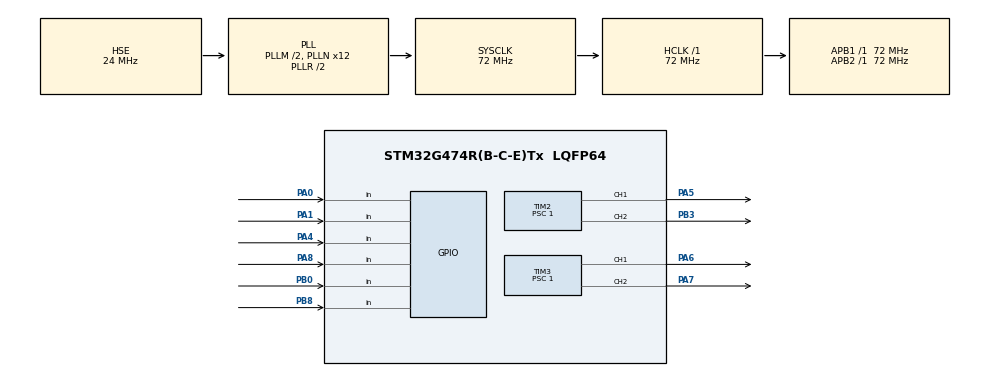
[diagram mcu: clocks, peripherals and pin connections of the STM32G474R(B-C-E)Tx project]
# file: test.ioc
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Mcu.Family=STM32G4
Mcu.Name=STM32G474R(B-C-E)Tx
Mcu.Package=LQFP64
NVIC.PriorityGroup=NVIC_PRIORITYGROUP_4
PA0.Signal=GPIO_Input
PA1.Signal=GPIO_Input
PA4.Signal=GPIO_Input
PA5.Signal=S_TIM2_CH1
PA6.Signal=S_TIM3_CH1
PA7.Signal=S_TIM3_CH2
PA8.Signal=GPIO_Input
PB0.Signal=GPIO_Input
PB3.Signal=S_TIM2_CH2
PB8-BOOT0.Signal=GPIO_Input
PF0-OSC_IN.Mode=HSE-External-Oscillator
PF0-OSC_IN.Signal=RCC_OSC_IN
PF1-OSC_OUT.Mode=HSE-External-Oscillator
PF1-OSC_OUT.Signal=RCC_OSC_OUT
ProjectManager.HeapSize=0x200
ProjectManager.StackSize=0x400
ProjectManager.TargetToolchain=STM32CubeIDE
RCC.ADC12Freq_Value=72000000
RCC.ADC345Freq_Value=72000000
RCC.AHBFreq_Value=72000000
RCC.APB1Freq_Value=72000000
RCC.APB1TimFreq_Value=72000000
RCC.APB2Freq_Value=72000000
RCC.APB2TimFreq_Value=72000000
RCC.CortexFreq_Value=72000000
RCC.EXTERNAL_CLOCK_VALUE=12288000
RCC.HCLKFreq_Value=72000000
RCC.HSE_VALUE=24000000
RCC.HSI48_VALUE=48000000
RCC.HSI_VALUE=16000000
RCC.PLLM=RCC_PLLM_DIV2
RCC.PLLN=12
RCC.PLLSourceVirtual=RCC_PLLSOURCE_HSE
RCC.RTCClockSelection=RCC_RTCCLKSOURCE_LSE
RCC.SYSCLKFreq_VALUE=72000000
RCC.SYSCLKSource=RCC_SYSCLKSOURCE_PLLCLK
RCC.USBFreq_Value=72000000
RCC.VCOOutputFreq_Value=144000000
SH.S_TIM2_CH1.0=TIM2_CH1,PWM Generation1 CH1
SH.S_TIM2_CH2.0=TIM2_CH2,PWM Generation2 CH2
SH.S_TIM3_CH1.0=TIM3_CH1,PWM Generation1 CH1
SH.S_TIM3_CH2.0=TIM3_CH2,PWM Generation2 CH2
TIM2.Channel-PWM\ Generation1\ CH1=TIM_CHANNEL_1
TIM2.Channel-PWM\ Generation2\ CH2=TIM_CHANNEL_2
TIM2.PeriodNoDither=3999
TIM2.Prescaler=1
TIM3.Channel-PWM\ Generation1\ CH1=TIM_CHANNEL_1
TIM3.Channel-PWM\ Generation2\ CH2=TIM_CHANNEL_2
TIM3.PeriodNoDither=3999
TIM3.Prescaler=1
VP_TIM2_VS_ClockSourceINT.Mode=Internal
VP_TIM3_VS_ClockSourceINT.Mode=Internal
board=NUCLEO-G474RE

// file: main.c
/* USER CODE BEGIN Header */
/**
  ******************************************************************************
  * @file           : main.c
  * @brief          : Main program body
  ******************************************************************************
  * @attention
  *
  * Copyright (c) 2024 STMicroelectronics.
  * All rights reserved.
  *
  * This software is licensed under terms that can be found in the LICENSE file
  * in the root directory of this software component.
  * If no LICENSE file comes with this software, it is provided AS-IS.
  *
  ******************************************************************************
  */
/* USER CODE END Header */
#include "main.h"

TIM_HandleTypeDef htim2;
TIM_HandleTypeDef htim3;

void SystemClock_Config(void);
static void MX_GPIO_Init(void);
static void MX_TIM2_Init(void);
static void MX_TIM3_Init(void);

/* USER CODE BEGIN 0 */
void stop(int v)
{
	TIM2->CCR1=0;
	TIM2->CCR2=0;
	TIM3->CCR1=0;
	TIM3->CCR2=0;
}
void avant(int v)
{
	TIM2->CCR1=v;
	TIM2->CCR2=0;
	TIM3->CCR1=v;
	TIM3->CCR2=0;
}
void arr(int v)
{
	TIM2->CCR1=0;
	TIM2->CCR2=v;
	TIM3->CCR1=0;
	TIM3->CCR2=v;
}
void gauche(int v)
{

	TIM2->CCR1=v;
	TIM2->CCR2=0;
	TIM3->CCR1=0;
	TIM3->CCR2=0;
}
void gauche_s(int v)
{

	TIM2->CCR1=v;
	TIM2->CCR2=0;
	TIM3->CCR1=0;
	TIM3->CCR2=v;
}
void droite(int v)
{

	TIM2->CCR1=0;
	TIM2->CCR2=0;
	TIM3->CCR1=v;
	TIM3->CCR2=0;
}
void droite_s(int v)
{

	TIM2->CCR1=0;
	TIM2->CCR2=v;
	TIM3->CCR1=v;
	TIM3->CCR2=0;
}
int cap2=0;
int cap3=0;
int cap4=0;
int cap1=0;
int cap5=0;
int cap6=0;
int i=0;
/* USER CODE END 0 */

int main(void)
{

  /* MCU Configuration--------------------------------------------------------*/

  /* Reset of all peripherals, Initializes the Flash interface and the Systick. */
  HAL_Init();

  /* Configure the system clock */
  SystemClock_Config();

  /* Initialize all configured peripherals */
  MX_GPIO_Init();
  MX_TIM2_Init();
  MX_TIM3_Init();
  /* USER CODE BEGIN 2 */
  HAL_TIM_PWM_Start(&htim2,TIM_CHANNEL_1);
  HAL_TIM_PWM_Start(&htim2,TIM_CHANNEL_2);
  HAL_TIM_PWM_Start(&htim3,TIM_CHANNEL_1);
    HAL_TIM_PWM_Start(&htim3,TIM_CHANNEL_2);
    avant(1500);
    HAL_Delay(1000);

  /* USER CODE END 2 */

  /* Infinite loop */
  while (1)
  {

    /* USER CODE BEGIN 3 */

	  cap1 =HAL_GPIO_ReadPin(GPIOA, GPIO_PIN_0);
	  cap2 =HAL_GPIO_ReadPin(GPIOA, GPIO_PIN_1);
	  cap3 =HAL_GPIO_ReadPin(GPIOA, GPIO_PIN_4);
	  cap4 =HAL_GPIO_ReadPin(GPIOB, GPIO_PIN_0);
	  cap5 =HAL_GPIO_ReadPin(GPIOA, GPIO_PIN_8);
	  cap6 =HAL_GPIO_ReadPin(GPIOB, GPIO_PIN_8);
	 if(
	 ((cap4==1)&&(cap2==0)&&(cap3==0)&&(cap5==1) )){

	 avant(1800);
	 }
	 else if (((i==0)&&(cap1==1)&&(cap4==1)&&(cap2==0)&&(cap3==0)&&(cap5==0))){
		stop(0) ;
		HAL_Delay(3000);
		avant(3000);
		HAL_Delay(1000);
		i=1;
	 }
	  else if( ((cap1==0)&&(cap2==0)&&(cap3==1) )||((cap1==0)&&(cap3==1)&&(cap4==1) )||((cap4==1)&&(cap2==0)&&(cap3==1))  ){
	 	 gauche(2000);
	 	}
	 else if( ((cap2==1)&&(cap4==0) )||((cap1==1)&&(cap3==0)&&(cap4==0))||((cap1==1)&&(cap2==1)&&(cap3==0)&&(cap4==1))||((cap4==1)&&(cap2==1)&&(cap3==1)&&(cap1==1)&&(cap5==0) )){
	 droite(2000);
	 }
	  else if((cap1==0)&&(cap2==0)&&(cap3==0)&&(cap4==1)){
	 	droite_s(2000);
	 	}
	 	 else if((cap1==1)&&(cap2==0)&&(cap3==0)&&(cap4==0) )

	 	{
	 gauche_s(2000);

	  }
	else if( ((cap1==0)&&(cap2==0)&&(cap3==1) )||((cap1==0)&&(cap3==1)&&(cap4==1) )||((cap4==1)&&(cap2==0)&&(cap3==1))  ){
	  gauche(2000);
	 }

	  else if((cap1==1)&&(cap2==1)&&(cap3==0)&&(cap4==1) )

	 {
	gauche_s(2000);
	  }
	  else if((cap1==0)&&(cap2==0)&&(cap3==0)&&(cap4==0)&&(cap5==0) )
	  {stop(0);}

  }

  /* USER CODE END 3 */

void SystemClock_Config(void)
{
  RCC_OscInitTypeDef RCC_OscInitStruct = {0};
  RCC_ClkInitTypeDef RCC_ClkInitStruct = {0};

  /** Configure the main internal regulator output voltage
  */
  HAL_PWREx_ControlVoltageScaling(PWR_REGULATOR_VOLTAGE_SCALE1);

  /** Initializes the RCC Oscillators according to the specified parameters
  * in the RCC_OscInitTypeDef structure.
  */
  RCC_OscInitStruct.OscillatorType = RCC_OSCILLATORTYPE_HSE;
  RCC_OscInitStruct.HSEState = RCC_HSE_ON;
  RCC_OscInitStruct.PLL.PLLState = RCC_PLL_ON;
  RCC_OscInitStruct.PLL.PLLSource = RCC_PLLSOURCE_HSE;
  RCC_OscInitStruct.PLL.PLLM = RCC_PLLM_DIV2;
  RCC_OscInitStruct.PLL.PLLN = 12;
  RCC_OscInitStruct.PLL.PLLP = RCC_PLLP_DIV2;
  RCC_OscInitStruct.PLL.PLLQ = RCC_PLLQ_DIV2;
  RCC_OscInitStruct.PLL.PLLR = RCC_PLLR_DIV2;
  if (HAL_RCC_OscConfig(&RCC_OscInitStruct) != HAL_OK)
  {
    Error_Handler();
  }

  /** Initializes the CPU, AHB and APB buses clocks
  */
  RCC_ClkInitStruct.ClockType = RCC_CLOCKTYPE_HCLK|RCC_CLOCKTYPE_SYSCLK
                              |RCC_CLOCKTYPE_PCLK1|RCC_CLOCKTYPE_PCLK2;
  RCC_ClkInitStruct.SYSCLKSource = RCC_SYSCLKSOURCE_PLLCLK;
  RCC_ClkInitStruct.AHBCLKDivider = RCC_SYSCLK_DIV1;
  RCC_ClkInitStruct.APB1CLKDivider = RCC_HCLK_DIV1;
  RCC_ClkInitStruct.APB2CLKDivider = RCC_HCLK_DIV1;

  if (HAL_RCC_ClockConfig(&RCC_ClkInitStruct, FLASH_LATENCY_2) != HAL_OK)
  {
    Error_Handler();
  }
}

static void MX_TIM2_Init(void)
{

  TIM_ClockConfigTypeDef sClockSourceConfig = {0};
  TIM_MasterConfigTypeDef sMasterConfig = {0};
  TIM_OC_InitTypeDef sConfigOC = {0};

  htim2.Instance = TIM2;
  htim2.Init.Prescaler = 1;
  htim2.Init.CounterMode = TIM_COUNTERMODE_UP;
  htim2.Init.Period = 3999;
  htim2.Init.ClockDivision = TIM_CLOCKDIVISION_DIV1;
  htim2.Init.AutoReloadPreload = TIM_AUTORELOAD_PRELOAD_DISABLE;
  if (HAL_TIM_Base_Init(&htim2) != HAL_OK)
  {
    Error_Handler();
  }
  sClockSourceConfig.ClockSource = TIM_CLOCKSOURCE_INTERNAL;
  if (HAL_TIM_ConfigClockSource(&htim2, &sClockSourceConfig) != HAL_OK)
  {
    Error_Handler();
  }
  if (HAL_TIM_PWM_Init(&htim2) != HAL_OK)
  {
    Error_Handler();
  }
  sMasterConfig.MasterOutputTrigger = TIM_TRGO_RESET;
  sMasterConfig.MasterSlaveMode = TIM_MASTERSLAVEMODE_DISABLE;
  if (HAL_TIMEx_MasterConfigSynchronization(&htim2, &sMasterConfig) != HAL_OK)
  {
    Error_Handler();
  }
  sConfigOC.OCMode = TIM_OCMODE_PWM1;
  sConfigOC.Pulse = 0;
  sConfigOC.OCPolarity = TIM_OCPOLARITY_HIGH;
  sConfigOC.OCFastMode = TIM_OCFAST_DISABLE;
  if (HAL_TIM_PWM_ConfigChannel(&htim2, &sConfigOC, TIM_CHANNEL_1) != HAL_OK)
  {
    Error_Handler();
  }
  if (HAL_TIM_PWM_ConfigChannel(&htim2, &sConfigOC, TIM_CHANNEL_2) != HAL_OK)
  {
    Error_Handler();
  }
  HAL_TIM_MspPostInit(&htim2);

}

static void MX_TIM3_Init(void)
{

  TIM_ClockConfigTypeDef sClockSourceConfig = {0};
  TIM_MasterConfigTypeDef sMasterConfig = {0};
  TIM_OC_InitTypeDef sConfigOC = {0};

  htim3.Instance = TIM3;
  htim3.Init.Prescaler = 1;
  htim3.Init.CounterMode = TIM_COUNTERMODE_UP;
  htim3.Init.Period = 3999;
  htim3.Init.ClockDivision = TIM_CLOCKDIVISION_DIV1;
  htim3.Init.AutoReloadPreload = TIM_AUTORELOAD_PRELOAD_DISABLE;
  if (HAL_TIM_Base_Init(&htim3) != HAL_OK)
  {
    Error_Handler();
  }
  sClockSourceConfig.ClockSource = TIM_CLOCKSOURCE_INTERNAL;
  if (HAL_TIM_ConfigClockSource(&htim3, &sClockSourceConfig) != HAL_OK)
  {
    Error_Handler();
  }
  if (HAL_TIM_PWM_Init(&htim3) != HAL_OK)
  {
    Error_Handler();
  }
  sMasterConfig.MasterOutputTrigger = TIM_TRGO_RESET;
  sMasterConfig.MasterSlaveMode = TIM_MASTERSLAVEMODE_DISABLE;
  if (HAL_TIMEx_MasterConfigSynchronization(&htim3, &sMasterConfig) != HAL_OK)
  {
    Error_Handler();
  }
  sConfigOC.OCMode = TIM_OCMODE_PWM1;
  sConfigOC.Pulse = 0;
  sConfigOC.OCPolarity = TIM_OCPOLARITY_HIGH;
  sConfigOC.OCFastMode = TIM_OCFAST_DISABLE;
  if (HAL_TIM_PWM_ConfigChannel(&htim3, &sConfigOC, TIM_CHANNEL_1) != HAL_OK)
  {
    Error_Handler();
  }
  if (HAL_TIM_PWM_ConfigChannel(&htim3, &sConfigOC, TIM_CHANNEL_2) != HAL_OK)
  {
    Error_Handler();
  }
  HAL_TIM_MspPostInit(&htim3);

}

static void MX_GPIO_Init(void)
{
  GPIO_InitTypeDef GPIO_InitStruct = {0};

  /* GPIO Ports Clock Enable */
  __HAL_RCC_GPIOF_CLK_ENABLE();
  __HAL_RCC_GPIOA_CLK_ENABLE();
  __HAL_RCC_GPIOB_CLK_ENABLE();

  /*Configure GPIO pins : PA0 PA1 PA4 PA8 */
  GPIO_InitStruct.Pin = GPIO_PIN_0|GPIO_PIN_1|GPIO_PIN_4|GPIO_PIN_8;
  GPIO_InitStruct.Mode = GPIO_MODE_INPUT;
  GPIO_InitStruct.Pull = GPIO_NOPULL;
  HAL_GPIO_Init(GPIOA, &GPIO_InitStruct);

  /*Configure GPIO pins : PB0 PB8 */
  GPIO_InitStruct.Pin = GPIO_PIN_0|GPIO_PIN_8;
  GPIO_InitStruct.Mode = GPIO_MODE_INPUT;
  GPIO_InitStruct.Pull = GPIO_NOPULL;
  HAL_GPIO_Init(GPIOB, &GPIO_InitStruct);

}

void Error_Handler(void)
{
  __disable_irq();
  while (1)
  {
  }
}
